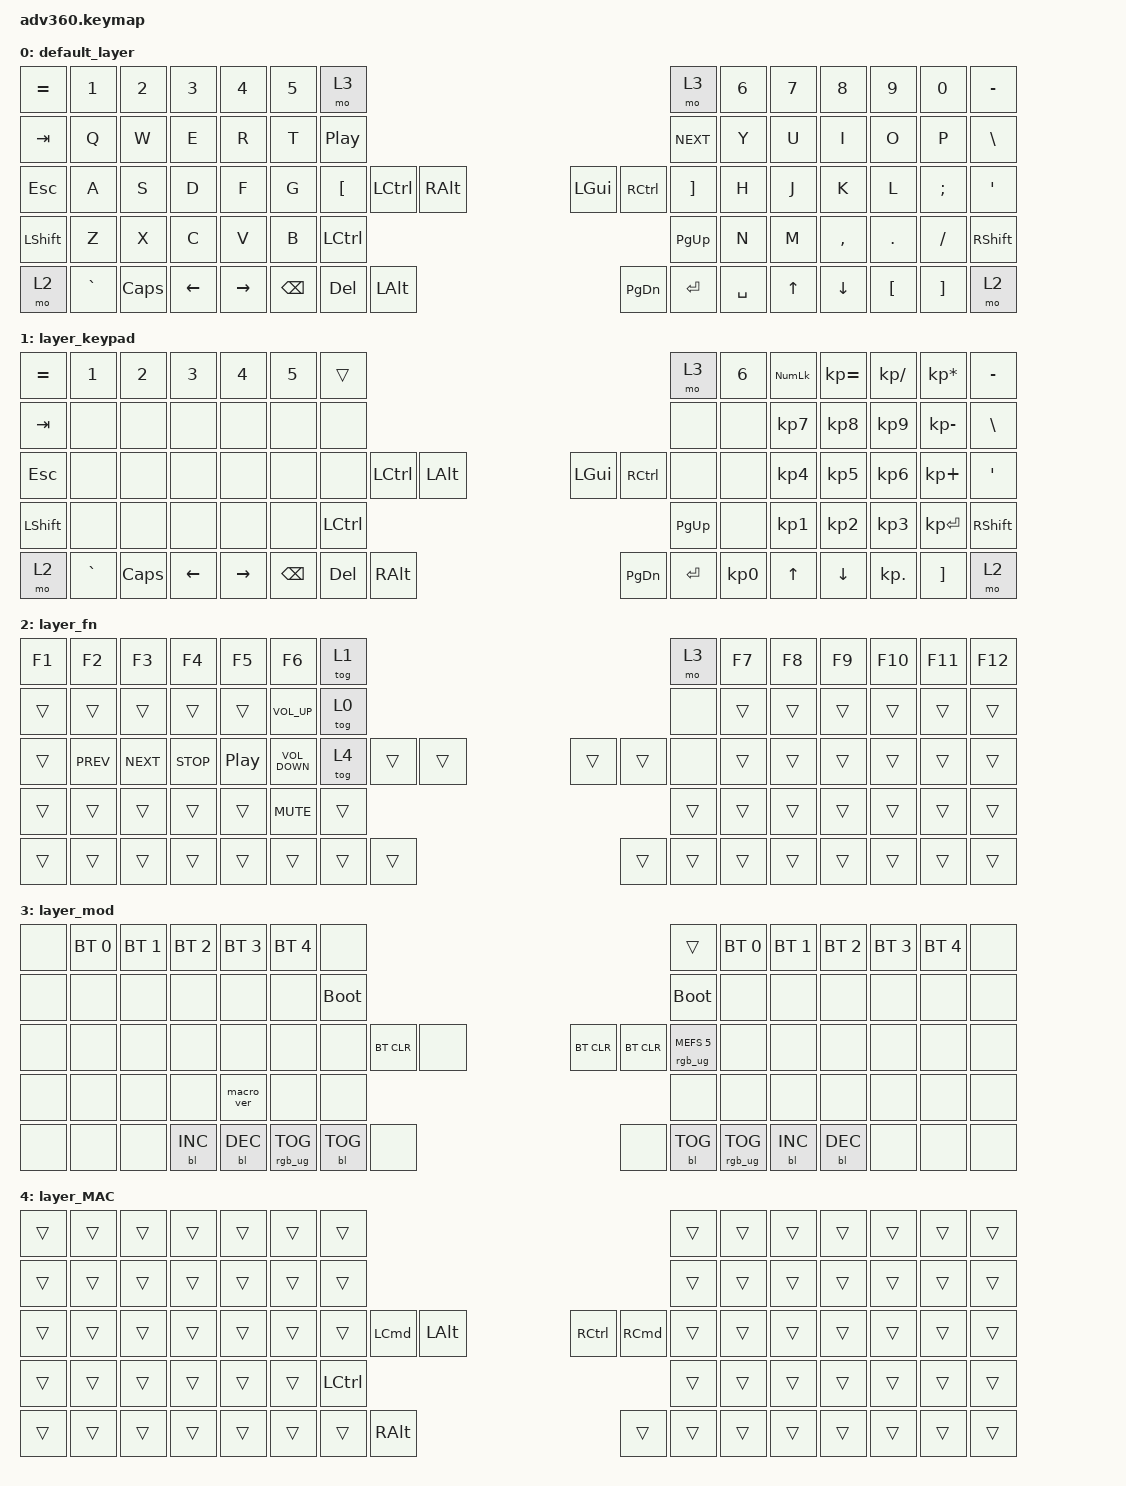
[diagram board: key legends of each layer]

/*
 * Copyright (c) 2020 The ZMK Contributors
 *
 * SPDX-License-Identifier: MIT
 */


/* THIS FILE WAS GENERATED!
 *
 * This file was generated automatically. You may or may not want to
 * edit it directly.
 */

#include <behaviors.dtsi>
#include <dt-bindings/zmk/keys.h>
#include <dt-bindings/zmk/bt.h>
#include <dt-bindings/zmk/rgb.h>
#include <dt-bindings/zmk/backlight.h>

/ {
  behaviors {
    #include "macros.dtsi"
    #include "version.dtsi"

    hm: homerow_mods {
        compatible = "zmk,behavior-hold-tap";
        label = "HOMEROW_MODS";
        #binding-cells = <2>;
        tapping-term-ms = <200>;
        quick_tap_ms = <175>;
        flavor = "tap-preferred";
        bindings = <&kp>, <&kp>;
    };
  };

    keymap {
        compatible = "zmk,keymap";


        default_layer {
            bindings = <
 &kp EQUAL     &kp N1    &kp N2    &kp N3     &kp N4  &kp N5                       &mo 3                                                                              &mo 3  &kp N6  &kp N7     &kp N8    &kp N9    &kp N0  &kp MINUS
   &kp TAB      &kp Q     &kp W     &kp E      &kp R   &kp T            &kp C_PLAY_PAUSE                                                                         &kp C_NEXT   &kp Y   &kp U      &kp I     &kp O     &kp P   &kp BSLH
   &kp ESC      &kp A     &kp S     &kp D      &kp F   &kp G            &kp LEFT_BRACKET  &kp LCTRL  &kp RIGHT_ALT                   &kp LGUI  &kp RCTRL  &kp RIGHT_BRACKET   &kp H   &kp J      &kp K     &kp L  &kp SEMI    &kp SQT
 &kp LSHFT      &kp Z     &kp X     &kp C      &kp V   &kp B                                             &kp LCTRL                  &kp PG_UP                                 &kp N   &kp M  &kp COMMA   &kp DOT  &kp FSLH  &kp RSHFT
     &mo 2  &kp GRAVE  &kp CAPS  &kp LEFT  &kp RIGHT                            &kp BSPC    &kp DEL       &kp LALT                  &kp PG_DN  &kp ENTER          &kp SPACE          &kp UP   &kp DOWN  &kp LBKT  &kp RBKT      &mo 2
            >;
        };

        layer_keypad {
            bindings = <
 &kp EQUAL     &kp N1    &kp N2    &kp N3     &kp N4  &kp N5              &trans                                                                      &mo 3  &kp N6  &kp KP_NUM  &kp KP_EQUAL  &kp KP_DIVIDE  &kp KP_MULTIPLY  &kp MINUS
   &kp TAB      &none     &none     &none      &none   &none               &none                                                                      &none   &none   &kp KP_N7     &kp KP_N8      &kp KP_N9     &kp KP_MINUS   &kp BSLH
   &kp ESC      &none     &none     &none      &none   &none               &none  &kp LCTRL       &kp LALT                   &kp LGUI  &kp RCTRL      &none   &none   &kp KP_N4     &kp KP_N5      &kp KP_N6      &kp KP_PLUS    &kp SQT
 &kp LSHFT      &none     &none     &none      &none   &none                                     &kp LCTRL                  &kp PG_UP                         &none   &kp KP_N1     &kp KP_N2      &kp KP_N3     &kp KP_ENTER  &kp RSHFT
     &mo 2  &kp GRAVE  &kp CAPS  &kp LEFT  &kp RIGHT                    &kp BSPC    &kp DEL  &kp RIGHT_ALT                  &kp PG_DN  &kp ENTER  &kp KP_N0              &kp UP      &kp DOWN     &kp KP_DOT         &kp RBKT      &mo 2
            >;
        };

        layer_fn {
            bindings = <
 &kp F1      &kp F2      &kp F3      &kp F4            &kp F5             &kp F6            &tog 1                                                   &mo 3  &kp F7  &kp F8  &kp F9  &kp F10  &kp F11  &kp F12
 &trans      &trans      &trans      &trans            &trans    &kp C_VOLUME_UP            &tog 0                                                   &none  &trans  &trans  &trans   &trans   &trans   &trans
 &trans  &kp C_PREV  &kp C_NEXT  &kp C_STOP  &kp C_PLAY_PAUSE  &kp C_VOLUME_DOWN            &tog 4  &trans  &trans                  &trans  &trans   &none  &trans  &trans  &trans   &trans   &trans   &trans
 &trans      &trans      &trans      &trans            &trans         &kp C_MUTE                            &trans                  &trans                  &trans  &trans  &trans   &trans   &trans   &trans
 &trans      &trans      &trans      &trans            &trans                               &trans  &trans  &trans                  &trans  &trans  &trans          &trans  &trans   &trans   &trans   &trans
            >;
        };

        layer_mod {
            bindings = <
  &none  &bt BT_SEL 0  &bt BT_SEL 1  &bt BT_SEL 2  &bt BT_SEL 3  &bt BT_SEL 4                      &none                                                                              &trans  &bt BT_SEL 0  &bt BT_SEL 1  &bt BT_SEL 2  &bt BT_SEL 3  &bt BT_SEL 4   &none
  &none         &none         &none         &none         &none         &none                &bootloader                                                                         &bootloader         &none         &none         &none         &none         &none   &none
  &none         &none         &none         &none         &none         &none                      &none  &bt BT_CLR   &none                  &bt BT_CLR  &bt BT_CLR  &rgb_ug RGB_MEFS_CMD 5         &none         &none         &none         &none         &none   &none
  &none         &none         &none         &none    &macro_ver         &none                                          &none                       &none                                             &none         &none         &none         &none         &none   &none
  &none         &none         &none    &bl BL_INC    &bl BL_DEC                          &rgb_ug RGB_TOG  &bl BL_TOG   &none                       &none  &bl BL_TOG         &rgb_ug RGB_TOG                  &bl BL_INC    &bl BL_DEC         &none         &none   &none
            >;
        };

        layer_MAC {
            bindings = <
 &trans  &trans  &trans  &trans  &trans  &trans            &trans                                                            &trans  &trans  &trans  &trans  &trans  &trans  &trans
 &trans  &trans  &trans  &trans  &trans  &trans            &trans                                                            &trans  &trans  &trans  &trans  &trans  &trans  &trans
 &trans  &trans  &trans  &trans  &trans  &trans            &trans  &kp LCMD   &kp LALT                  &kp RCTRL  &kp RCMD  &trans  &trans  &trans  &trans  &trans  &trans  &trans
 &trans  &trans  &trans  &trans  &trans  &trans                              &kp LCTRL                     &trans                    &trans  &trans  &trans  &trans  &trans  &trans
 &trans  &trans  &trans  &trans  &trans                    &trans    &trans   &kp RALT                     &trans    &trans  &trans          &trans  &trans  &trans  &trans  &trans
            >;
        };

    };
};
